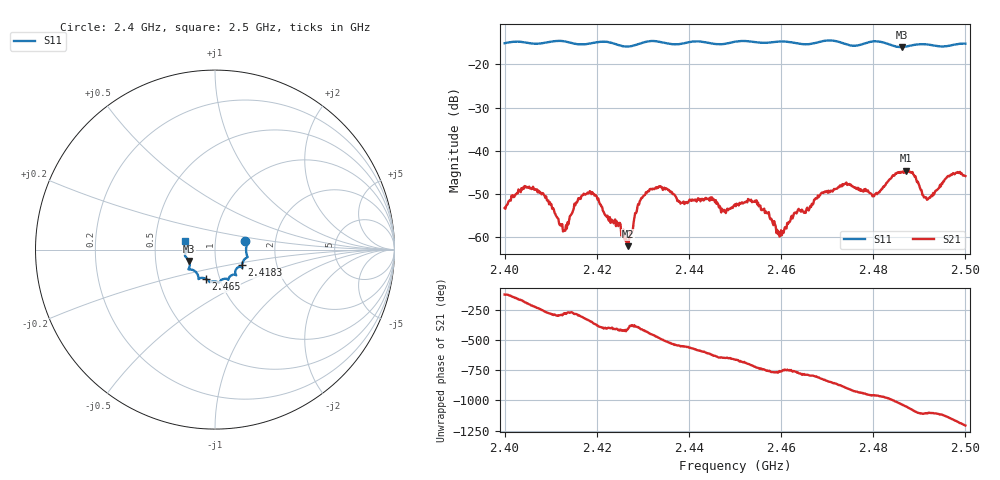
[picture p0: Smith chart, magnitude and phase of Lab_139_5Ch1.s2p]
# Hz S RI R 50
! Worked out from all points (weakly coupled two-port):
!   601 points, 2.4 GHz to 2.5 GHz, reference 50 ohm
!   highest |S21| = -44.61 dB at 2.4872 GHz (marker M1); lowest = -62.1 dB at 2.4268 GHz (marker M2)
!   lowest |S11| = -16.0 dB at 2.4862 GHz (marker M3), VSWR 1.37, Z = 37.1 - j4.85 ohm
!   |S11| at or under -10 dB: start of sweep to end of sweep
!   S12 and S22 are empty: the file has one direction only
!   S11 on the Smith chart (normalised r, x): 2.4 GHz: 1.40, +0.13; 2.4183 GHz: 1.33, -0.24; 2.465 GHz: 0.86, -0.29; 2.5 GHz: 0.71, +0.07
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2.4e9  0.169 0.0458  -0.00128 -0.00176  0 0  0 0
2.4065e9  0.1728 0.00295  -0.00255 0.00258  0 0  0 0
2.413e9  0.1786 -0.044  0.000312 0.00117  0 0  0 0
2.416667e9  0.155 -0.0685  0.00184 0.00236  0 0  0 0
2.418333e9  0.1498 -0.0869  0.00309 0.00111  0 0  0 0
2.426833e9  0.1192 -0.1072  0.000554 -0.000561  0 0  0 0
2.4295e9  0.1129 -0.1332  0.00168 -0.00211  0 0  0 0
2.433333e9  0.1168 -0.1411  -0.00193 -0.00319  0 0  0 0
2.438667e9  0.079 -0.1549  -0.00244 0.000625  0 0  0 0
2.45e9  0.0252 -0.1807  0.00126 0.00204  0 0  0 0
2.4545e9  0.0109 -0.1797  0.00255 -0.000193  0 0  0 0
2.459833e9  -0.0274 -0.1814  0.000786 -0.000704  0 0  0 0
2.465e9  -0.0529 -0.1622  0.000904 -0.00169  0 0  0 0
2.466667e9  -0.0715 -0.1574  0.000664 -0.00234  0 0  0 0
2.473667e9  -0.0942 -0.1459  -0.00403 -0.000858  0 0  0 0
2.480333e9  -0.148 -0.11  -0.00159 0.00269  0 0  0 0
2.483333e9  -0.1418 -0.0955  -0.000621 0.00447  0 0  0 0
2.486167e9  -0.1444 -0.0637  0.00381 0.00412  0 0  0 0
2.487167e9  -0.1511 -0.0539  0.00507 0.00297  0 0  0 0
2.4915e9  -0.1673 -0.0307  0.00257 -0.00129  0 0  0 0
2.496333e9  -0.1622 0.0205  0.00258 -0.00443  0 0  0 0
2.5e9  -0.1667 0.0472  -0.00299 -0.00413  0 0  0 0
